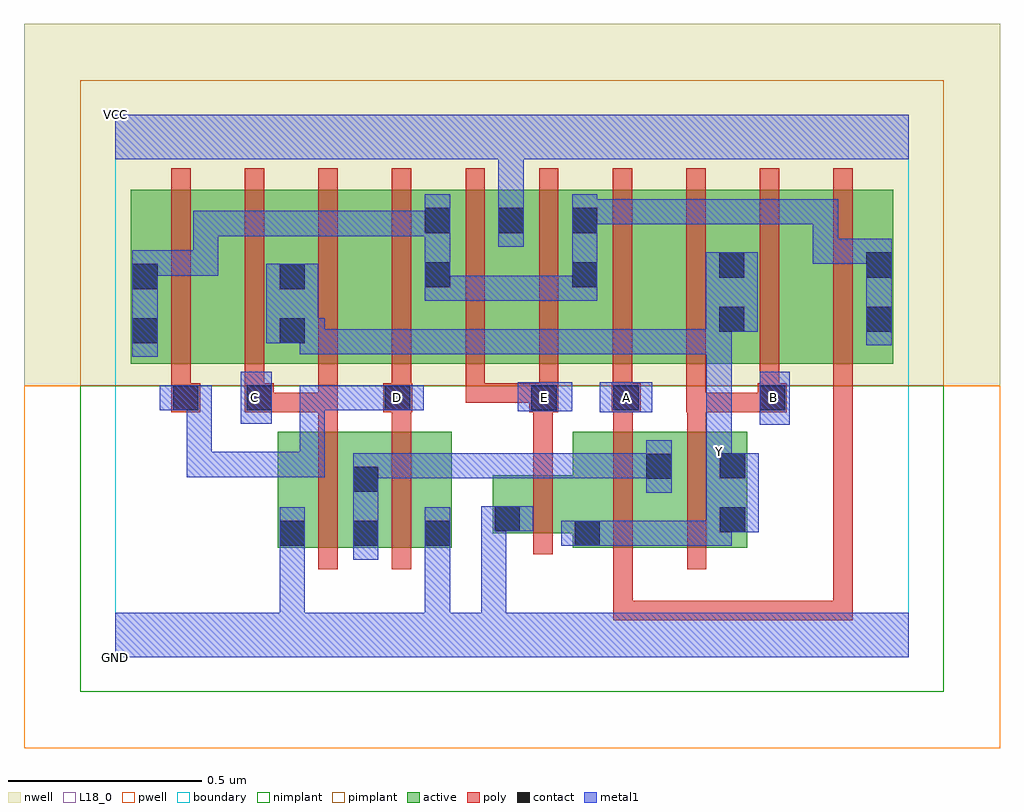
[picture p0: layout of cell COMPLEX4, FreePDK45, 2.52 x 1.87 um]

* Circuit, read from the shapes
.subckt COMPLEX4 A B C D E GND VCC Y
M1 n1 C GND VSUBS nfet w=0.3u l=0.05u
M2 GND D n1 VSUBS nfet w=0.3u l=0.05u
M3 Y E GND VSUBS nfet w=0.15u l=0.05u
M4 n1 A Y VSUBS nfet w=0.3u l=0.05u
M5 Y B n1 VSUBS nfet w=0.3u l=0.05u
M6 n2 D n3 n4 pfet w=0.45u l=0.05u
M7 Y C n2 n4 pfet w=0.45u l=0.05u
M8 n5 C Y n4 pfet w=0.45u l=0.05u
M9 n3 D n5 n4 pfet w=0.45u l=0.05u
M10 VCC E n3 n4 pfet w=0.45u l=0.05u m=2
M11 n6 A n3 n4 pfet w=0.45u l=0.05u
M12 Y B n6 n4 pfet w=0.45u l=0.05u
M13 n7 B Y n4 pfet w=0.45u l=0.05u
M14 n3 A n7 n4 pfet w=0.45u l=0.05u
.ends

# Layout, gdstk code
import gdstk
lib = gdstk.Library(unit=1e-6, precision=1e-09)
def R(c, l, rs):  # rectangles x0, y0, x1, y1
    for r in rs: c.add(gdstk.rectangle(r[:2], r[2:], *l))
def A(c, l, x, y, w, h, nx, ny, dx, dy):  # array of equal rectangles
    R(c, l, [(x+i*dx, y+j*dy, x+i*dx+w, y+j*dy+h) for i in range(nx) for j in range(ny)])
active = (1, 0)
pwell = (2, 0)
nwell = (3, 0)
nimplant = (4, 0)
pimplant = (5, 0)
poly = (9, 0)
contact = (10, 0)
metal1 = (11, 0)
L18_0 = (18, 0)
boundary = (235, 0)

complex4 = lib.new_cell('COMPLEX4')
R(complex4, active, [(0.42,0.282,0.685,0.582), (0.42,0.282,0.495,0.582), (0.61,0.282,0.87,0.582), (0.61,0.282,0.685,0.497), (0.795,0.282,0.87,0.582), (1.182,0.282,1.442,0.582), (1.182,0.282,1.257,0.357), (1.367,0.282,1.632,0.582), (1.557,0.317,1.632,0.582), (0.975,0.32,1.257,0.47), (0.975,0.32,1.05,0.47), (1.367,0.345,1.442,0.53), (0.04,0.757,0.265,1.207), (0.04,0.757,0.145,1.2), (0.265,0.757,0.495,1.207), (0.42,0.757,0.645,1.207), (0.42,0.757,0.495,1.07), (0.645,0.757,0.87,1.207), (0.795,0.757,0.87,1.2), (0.795,0.757,1.06,1.207), (0.985,0.757,1.25,1.207), (1.175,0.757,1.25,1.2), (1.175,0.757,1.405,1.207), (1.405,0.757,1.63,1.207), (1.555,0.757,1.785,1.207), (1.555,0.757,1.63,1.07), (1.785,0.757,2.01,1.207), (1.935,0.757,2.01,1.2), (0.985,0.852,1.06,1.207)])
R(complex4, pwell, [(-0.235,-0.235,2.285,0.7)])
R(complex4, nwell, [(-0.235,0.7,2.285,1.635)])
R(complex4, nimplant, [(-0.09,-0.09,2.14,0.7)])
R(complex4, pimplant, [(-0.09,0.7,2.14,1.49)])
A(complex4, poly, 0.715, 0.657, 0.05, 0.095, 4, 1, 0.19, 0)
A(complex4, poly, 0.145, 0.702, 0.05, 0.56, 10, 1, 0.19, 0)
R(complex4, poly, [(1.287,0.095,1.337,0.145), (1.287,0.095,1.337,0.145), (1.287,0.095,1.337,0.145), (1.287,0.095,1.577,0.145), (1.287,0.095,1.337,0.277), (1.527,0.095,1.577,0.145), (1.527,0.095,1.577,0.145), (1.527,0.095,1.577,0.145), (1.527,0.095,1.732,0.145), (1.682,0.095,1.732,0.145), (1.682,0.095,1.732,0.145), (1.682,0.095,1.732,0.145), (1.682,0.095,1.732,0.145), (1.682,0.095,1.732,0.145), (1.682,0.095,1.905,0.145), (1.855,0.095,1.905,0.752), (1.855,0.095,1.905,0.145), (1.855,0.095,1.905,0.145), (1.855,0.095,1.905,0.145), (1.855,0.095,1.905,0.145), (1.855,0.095,1.905,0.145), (1.855,0.095,1.905,0.145), (1.855,0.095,1.905,0.145), (0.525,0.227,0.575,0.637), (0.715,0.227,0.765,0.637), (1.287,0.227,1.337,0.637), (1.477,0.227,1.527,0.637), (1.08,0.265,1.13,0.525), (1.08,0.475,1.13,0.682), (0.525,0.587,0.575,0.682), (0.715,0.587,0.765,0.682), (1.287,0.587,1.337,0.682), (1.477,0.587,1.527,0.682), (0.145,0.632,0.22,0.707), (0.335,0.632,0.41,0.707), (0.36,0.632,0.575,0.682), (0.525,0.632,0.575,0.682), (0.525,0.632,0.575,0.682), (0.525,0.632,0.575,0.682), (0.525,0.632,0.575,0.752), (0.692,0.632,0.767,0.707), (1.07,0.632,1.145,0.707), (1.282,0.632,1.357,0.707), (1.475,0.632,1.525,0.752), (1.475,0.632,1.527,0.682), (1.477,0.632,1.527,0.682), (1.477,0.632,1.527,0.682), (1.477,0.632,1.71,0.682), (1.66,0.632,1.735,0.707), (0.145,0.657,0.195,0.752), (0.335,0.657,0.385,0.752), (0.905,0.657,0.955,0.707), (0.905,0.657,1.12,0.707), (1.07,0.657,1.12,0.707), (1.07,0.657,1.12,0.707), (1.665,0.657,1.715,0.752)])
A(complex4, contact, 0.8, 1.095, 0.065, 0.065, 3, 1, 0.19, 0)
R(complex4, contact, [(0.425,0.287,0.49,0.352), (0.615,0.287,0.68,0.352), (0.8,0.287,0.865,0.352), (1.187,0.287,1.252,0.352), (1.562,0.322,1.627,0.387), (0.98,0.325,1.045,0.39), (0.615,0.427,0.68,0.492), (1.372,0.46,1.437,0.525), (1.562,0.462,1.627,0.527), (0.15,0.637,0.215,0.702), (0.34,0.637,0.405,0.702), (0.697,0.637,0.762,0.702), (1.075,0.637,1.14,0.702), (1.287,0.637,1.352,0.702), (1.665,0.637,1.73,0.702), (0.045,0.81,0.11,0.875), (0.425,0.81,0.49,0.875), (1.56,0.84,1.625,0.905), (1.94,0.84,2.005,0.905), (0.045,0.95,0.11,1.015), (0.425,0.95,0.49,1.015), (0.8,0.955,0.865,1.02), (1.18,0.955,1.245,1.02), (1.56,0.98,1.625,1.045), (1.94,0.98,2.005,1.045)])
R(complex4, metal1, [(0,0,2.05,0.115), (0.425,0.05,0.49,0.115), (0.425,0.05,0.49,0.115), (0.425,0.05,0.49,0.115), (0.425,0.05,0.49,0.115), (0.425,0.05,0.49,0.317), (0.8,0.05,0.865,0.317), (0.945,0.05,1.01,0.115), (0.945,0.05,1.01,0.115), (0.945,0.05,1.01,0.39), (0.425,0.252,0.49,0.387), (0.615,0.252,0.68,0.527), (0.8,0.252,0.865,0.317), (0.8,0.252,0.865,0.317), (0.8,0.252,0.865,0.317), (0.8,0.252,0.865,0.317), (0.8,0.252,0.865,0.387), (1.152,0.287,1.287,0.352), (1.222,0.287,1.287,0.352), (1.222,0.287,1.287,0.352), (1.222,0.287,1.425,0.352), (1.36,0.287,1.425,0.352), (1.36,0.287,1.592,0.352), (1.527,0.287,1.592,0.352), (1.527,0.287,1.592,0.352), (1.527,0.287,1.592,0.352), (1.527,0.287,1.592,0.387), (1.527,0.322,1.662,0.527), (0.945,0.325,1.01,0.39), (0.945,0.325,1.01,0.39), (0.945,0.325,1.01,0.39), (0.945,0.325,1.01,0.39), (0.945,0.325,1.08,0.39), (1.372,0.425,1.437,0.56), (0.615,0.462,0.68,0.527), (0.615,0.462,0.68,0.527), (0.615,0.462,0.872,0.527), (0.807,0.462,0.872,0.527), (0.807,0.462,0.872,0.527), (0.807,0.462,0.872,0.527), (0.807,0.462,1.01,0.527), (0.945,0.462,1.01,0.527), (0.945,0.462,1.01,0.527), (0.945,0.462,1.01,0.527), (0.945,0.462,1.287,0.527), (1.222,0.462,1.287,0.527), (1.222,0.462,1.287,0.527), (1.222,0.462,1.287,0.527), (1.222,0.462,1.437,0.527), (1.527,0.462,1.592,0.527), (1.527,0.462,1.592,0.597), (0.185,0.465,0.25,0.53), (0.185,0.465,0.25,0.702), (0.185,0.465,0.405,0.53), (0.34,0.465,0.405,0.53), (0.34,0.465,0.542,0.53), (0.477,0.465,0.542,0.53), (0.477,0.465,0.542,0.702), (1.527,0.532,1.592,0.905), (1.665,0.6,1.742,0.737), (0.325,0.602,0.405,0.737), (1.252,0.632,1.387,0.71), (1.04,0.635,1.18,0.71), (0.115,0.637,0.25,0.702), (0.185,0.637,0.25,0.702), (0.185,0.637,0.25,0.702), (0.477,0.637,0.542,0.702), (0.477,0.637,0.542,0.702), (0.477,0.637,0.542,0.702), (0.477,0.637,0.727,0.702), (0.662,0.637,0.727,0.702), (0.662,0.637,0.727,0.702), (0.662,0.637,0.797,0.702), (0.045,0.775,0.11,1.05), (0.477,0.782,0.727,0.847), (0.477,0.782,0.542,0.875), (0.662,0.782,0.727,0.847), (0.662,0.782,0.727,0.847), (0.662,0.782,0.727,0.847), (0.662,0.782,0.872,0.847), (0.807,0.782,0.872,0.847), (0.807,0.782,0.872,0.847), (0.807,0.782,0.872,0.847), (0.807,0.782,1.08,0.847), (1.015,0.782,1.08,0.847), (1.015,0.782,1.08,0.847), (1.015,0.782,1.08,0.847), (1.015,0.782,1.287,0.847), (1.222,0.782,1.287,0.847), (1.222,0.782,1.287,0.847), (1.222,0.782,1.287,0.847), (1.222,0.782,1.425,0.847), (1.36,0.782,1.425,0.847), (1.36,0.782,1.59,0.847), (1.525,0.782,1.59,0.905), (1.94,0.805,2.005,1.08), (0.39,0.81,0.525,1.015), (0.46,0.81,0.542,0.875), (1.525,0.84,1.59,0.905), (1.525,0.84,1.66,1.045), (0.8,0.92,0.865,0.985), (0.8,0.92,0.865,0.985), (0.8,0.92,0.865,1.195), (0.8,0.92,1.01,0.985), (0.945,0.92,1.01,0.985), (0.945,0.92,1.01,0.985), (0.945,0.92,1.01,0.985), (0.945,0.92,1.245,0.985), (1.18,0.92,1.245,1.195), (0.045,0.985,0.11,1.05), (0.045,0.985,0.11,1.05), (0.045,0.985,0.267,1.05), (0.202,0.985,0.267,1.05), (0.202,0.985,0.267,1.152), (1.802,1.015,1.867,1.08), (1.802,1.015,2.005,1.08), (1.802,1.015,1.867,1.182), (1.94,1.015,2.005,1.08), (1.94,1.015,2.005,1.08), (0.99,1.06,1.055,1.195), (0.202,1.087,0.267,1.152), (0.202,1.087,0.405,1.152), (0.34,1.087,0.405,1.152), (0.34,1.087,0.405,1.152), (0.34,1.087,0.405,1.152), (0.34,1.087,0.542,1.152), (0.477,1.087,0.542,1.152), (0.477,1.087,0.727,1.152), (0.662,1.087,0.727,1.152), (0.662,1.087,0.727,1.152), (0.662,1.087,0.727,1.152), (0.662,1.087,0.865,1.152), (1.18,1.117,1.245,1.182), (1.18,1.117,1.245,1.182), (1.18,1.117,1.452,1.182), (1.387,1.117,1.452,1.182), (1.387,1.117,1.592,1.182), (1.527,1.117,1.592,1.182), (1.527,1.117,1.73,1.182), (1.665,1.117,1.73,1.182), (1.665,1.117,1.73,1.182), (1.665,1.117,1.73,1.182), (1.665,1.117,1.867,1.182), (1.802,1.117,1.867,1.182), (0.99,1.13,1.055,1.35), (0,1.285,2.05,1.4)])
R(complex4, L18_0, [(0,0,2.05,0.115), (0.425,0.05,0.49,0.115), (0.425,0.05,0.49,0.115), (0.425,0.05,0.49,0.115), (0.425,0.05,0.49,0.115), (0.425,0.05,0.49,0.317), (0.8,0.05,0.865,0.317), (0.945,0.05,1.01,0.115), (0.945,0.05,1.01,0.115), (0.945,0.05,1.01,0.39), (0.425,0.252,0.49,0.387), (0.8,0.252,0.865,0.317), (0.8,0.252,0.865,0.317), (0.8,0.252,0.865,0.317), (0.8,0.252,0.865,0.317), (0.8,0.252,0.865,0.387), (1.152,0.287,1.287,0.352), (1.222,0.287,1.287,0.352), (1.222,0.287,1.287,0.352), (1.222,0.287,1.425,0.352), (1.36,0.287,1.425,0.352), (1.36,0.287,1.592,0.352), (1.527,0.287,1.592,0.352), (1.527,0.287,1.592,0.352), (1.527,0.287,1.592,0.352), (1.527,0.287,1.592,0.387), (1.527,0.322,1.662,0.527), (0.945,0.325,1.08,0.39), (0.945,0.325,1.01,0.39), (0.945,0.325,1.01,0.39), (0.945,0.325,1.01,0.39), (0.945,0.325,1.01,0.39), (1.527,0.462,1.592,0.527), (1.527,0.462,1.592,0.597), (0.185,0.465,0.25,0.53), (0.185,0.465,0.25,0.702), (0.185,0.465,0.405,0.53), (0.34,0.465,0.405,0.53), (0.34,0.465,0.542,0.53), (0.477,0.465,0.542,0.53), (0.477,0.465,0.542,0.702), (1.527,0.497,1.592,0.562), (1.527,0.532,1.592,0.905), (1.665,0.6,1.742,0.737), (0.325,0.602,0.405,0.737), (1.252,0.632,1.387,0.71), (1.04,0.635,1.18,0.71), (0.115,0.637,0.25,0.702), (0.185,0.637,0.25,0.702), (0.185,0.637,0.25,0.702), (0.327,0.637,0.392,0.702), (0.477,0.637,0.542,0.702), (0.477,0.637,0.542,0.702), (0.477,0.637,0.542,0.702), (0.477,0.637,0.727,0.702), (0.662,0.637,0.797,0.702), (0.662,0.637,0.727,0.702), (0.662,0.637,0.727,0.702), (0.697,0.637,0.762,0.702), (1.077,0.637,1.142,0.702), (1.287,0.637,1.352,0.702), (1.667,0.637,1.732,0.702), (0.477,0.782,0.542,0.875), (0.477,0.782,0.727,0.847), (0.662,0.782,0.727,0.847), (0.662,0.782,0.727,0.847), (0.662,0.782,0.727,0.847), (0.662,0.782,0.872,0.847), (0.807,0.782,0.872,0.847), (0.807,0.782,0.872,0.847), (0.807,0.782,0.872,0.847), (0.807,0.782,1.08,0.847), (1.015,0.782,1.08,0.847), (1.015,0.782,1.08,0.847), (1.015,0.782,1.08,0.847), (1.015,0.782,1.287,0.847), (1.222,0.782,1.287,0.847), (1.222,0.782,1.287,0.847), (1.222,0.782,1.287,0.847), (1.222,0.782,1.425,0.847), (1.36,0.782,1.425,0.847), (1.36,0.782,1.59,0.847), (1.525,0.782,1.59,0.905), (0.39,0.81,0.525,1.015), (0.46,0.81,0.542,0.875), (1.525,0.84,1.59,0.905), (1.525,0.84,1.66,1.045), (0.99,1.06,1.055,1.195), (0.99,1.13,1.055,1.35), (0,1.285,2.05,1.4)])
R(complex4, boundary, [(0,0,2.05,1.4)])
complex4.add(gdstk.Label('A', (1.32,0.67), layer=11, texttype=0))
complex4.add(gdstk.Label('B', (1.7,0.67), layer=11, texttype=0))
complex4.add(gdstk.Label('C', (0.36,0.67), layer=11, texttype=0))
complex4.add(gdstk.Label('D', (0.73,0.67), layer=11, texttype=0))
complex4.add(gdstk.Label('E', (1.11,0.67), layer=11, texttype=0))
complex4.add(gdstk.Label('Y', (1.56,0.53), layer=11, texttype=0))
complex4.add(gdstk.Label('VCC', (0,1.4), layer=11, texttype=0))
complex4.add(gdstk.Label('GND', (0,0), layer=11, texttype=0))

lib.write_gds('COMPLEX4.gds')
